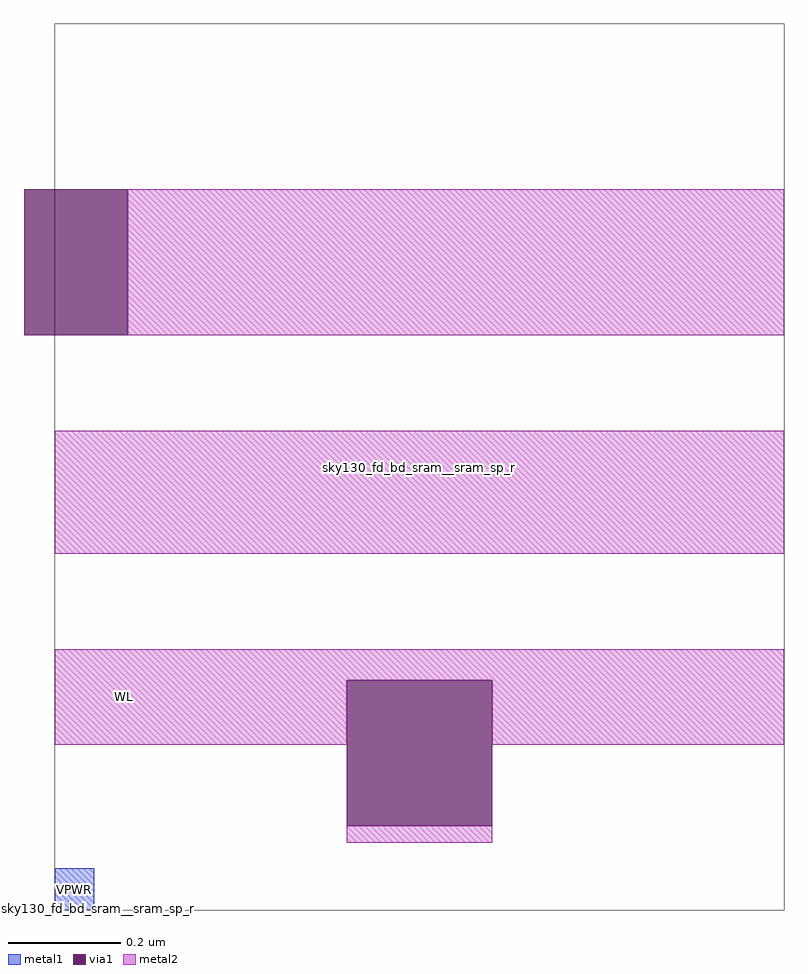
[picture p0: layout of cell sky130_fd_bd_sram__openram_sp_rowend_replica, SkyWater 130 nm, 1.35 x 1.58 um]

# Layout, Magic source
magic
tech sky130A
magscale 1 2
<< metal1 >>
rect 0 0 14 15
use sky130_fd_bd_sram__sram_sp_rowend_met2  sky130_fd_bd_sram__sram_sp_rowend_met2_0
transform 1 0 0 0 1 0
box -11 24 260 257
use sky130_fd_bd_sram__sram_sp_rowend_p1m_siz  sky130_fd_bd_sram__sram_sp_rowend_p1m_siz_0
transform 1 0 0 0 1 0
box 0 0 1 1
use sky130_fd_bd_sram__sram_sp_rowend_replica_ce  sky130_fd_bd_sram__sram_sp_rowend_replica_ce_0
transform 1 0 0 0 1 0
box 0 0 260 316
<< labels >>
rlabel metal1 s 0 0 14 15 4 VPWR
port 1 nsew
rlabel metal2 s 25 76 25 76 4 WL
port 2 nsew
<< end >>

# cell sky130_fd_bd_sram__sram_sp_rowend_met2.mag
magic
tech sky130A
magscale 1 2
<< via1 >>
rect -11 205 26 257
rect 104 30 156 82
<< metal2 >>
rect 26 205 260 257
rect 0 127 260 171
rect 0 82 260 93
rect 0 59 104 82
rect 156 59 260 82
rect 104 24 156 30
<< properties >>
string GDS_FILE sky130_fd_bd_sram__sram_sp_rowend_met2.gds
string GDS_END 554
string GDS_START 166
<< end >>
